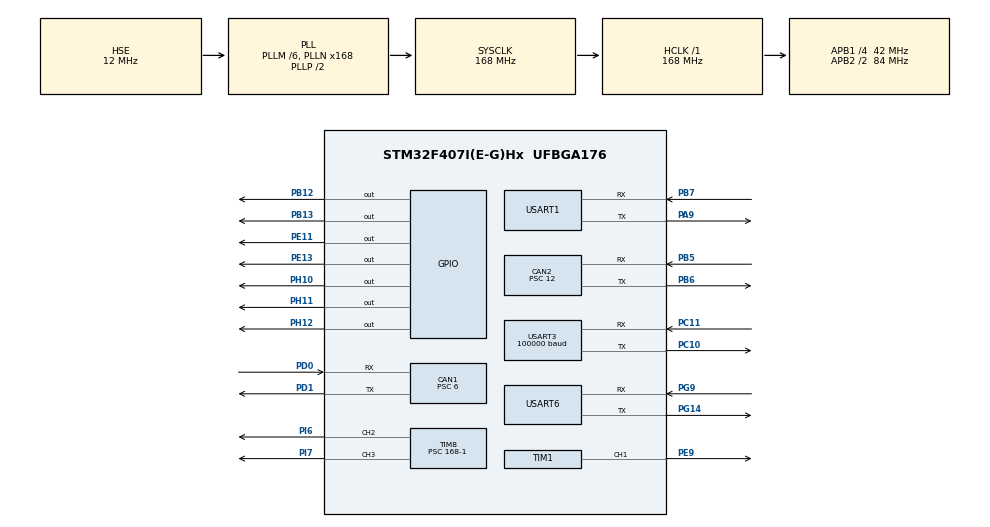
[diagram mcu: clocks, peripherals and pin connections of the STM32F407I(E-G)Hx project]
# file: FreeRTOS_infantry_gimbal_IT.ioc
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CAN1.BS1=CAN_BS1_5TQ
CAN1.CalculateBaudRate=1000000
CAN1.CalculateTimeBit=999.99
CAN1.CalculateTimeQuantum=142.85714285714286
CAN1.Prescaler=6
CAN2.BS1=CAN_BS1_5TQ
CAN2.CalculateBaudRate=500000
CAN2.CalculateTimeBit=1999.99
CAN2.CalculateTimeQuantum=285.7142857142857
CAN2.Prescaler=12
Dma.Request0=USART3_RX
Dma.USART3_RX.0.Direction=DMA_PERIPH_TO_MEMORY
Dma.USART3_RX.0.FIFOMode=DMA_FIFOMODE_DISABLE
Dma.USART3_RX.0.Instance=DMA1_Stream1
Dma.USART3_RX.0.MemDataAlignment=DMA_MDATAALIGN_BYTE
Dma.USART3_RX.0.MemInc=DMA_MINC_ENABLE
Dma.USART3_RX.0.Mode=DMA_NORMAL
Dma.USART3_RX.0.PeriphDataAlignment=DMA_PDATAALIGN_BYTE
Dma.USART3_RX.0.PeriphInc=DMA_PINC_DISABLE
Dma.USART3_RX.0.Priority=DMA_PRIORITY_LOW
Mcu.Family=STM32F4
Mcu.Name=STM32F407I(E-G)Hx
Mcu.Package=UFBGA176
NVIC.CAN1_RX0_IRQn=true\:5\:0\:true\:false\:true\:true\:true
NVIC.CAN2_RX0_IRQn=true\:5\:0\:true\:false\:true\:true\:true
NVIC.DMA1_Stream1_IRQn=true\:5\:0\:true\:false\:true\:false\:true
NVIC.PriorityGroup=NVIC_PRIORITYGROUP_4
NVIC.TIM6_DAC_IRQn=true\:0\:0\:false\:false\:true\:false\:true
NVIC.TimeBase=TIM6_DAC_IRQn
NVIC.TimeBaseIP=TIM6
NVIC.USART1_IRQn=true\:5\:0\:true\:false\:true\:true\:true
NVIC.USART3_IRQn=true\:5\:0\:true\:false\:true\:true\:true
NVIC.USART6_IRQn=true\:5\:0\:true\:false\:true\:true\:true
PA13.Mode=Serial_Wire
PA13.Signal=SYS_JTMS-SWDIO
PA14.Mode=Serial_Wire
PA14.Signal=SYS_JTCK-SWCLK
PA9.Mode=Asynchronous
PA9.Signal=USART1_TX
PB12.Signal=GPIO_Output
PB13.Signal=GPIO_Output
PB5.Mode=CAN_Activate
PB5.Signal=CAN2_RX
PB6.Mode=CAN_Activate
PB6.Signal=CAN2_TX
PB7.Mode=Asynchronous
PB7.Signal=USART1_RX
PC10.Mode=Asynchronous
PC10.Signal=USART3_TX
PC11.Mode=Asynchronous
PC11.Signal=USART3_RX
PD0.Mode=CAN_Activate
PD0.Signal=CAN1_RX
PD1.Mode=CAN_Activate
PD1.Signal=CAN1_TX
PE11.Signal=GPIO_Output
PE13.Signal=GPIO_Output
PE9.Signal=S_TIM1_CH1
PG14.Mode=Asynchronous
PG14.Signal=USART6_TX
PG9.Mode=Asynchronous
PG9.Signal=USART6_RX
PH0-OSC_IN.Mode=HSE-External-Oscillator
PH0-OSC_IN.Signal=RCC_OSC_IN
PH1-OSC_OUT.Mode=HSE-External-Oscillator
PH1-OSC_OUT.Signal=RCC_OSC_OUT
PH10.Signal=GPIO_Output
PH11.Signal=GPIO_Output
PH12.Signal=GPIO_Output
PI6.Signal=S_TIM8_CH2
PI7.Signal=S_TIM8_CH3
ProjectManager.HeapSize=0x200
ProjectManager.StackSize=0x400
ProjectManager.TargetToolchain=MDK-ARM V5.27
RCC.48MHZClocksFreq_Value=84000000
RCC.AHBFreq_Value=168000000
RCC.APB1CLKDivider=RCC_HCLK_DIV4
RCC.APB1Freq_Value=42000000
RCC.APB1TimFreq_Value=84000000
RCC.APB2CLKDivider=RCC_HCLK_DIV2
RCC.APB2Freq_Value=84000000
RCC.APB2TimFreq_Value=168000000
RCC.CortexFreq_Value=168000000
RCC.HCLKFreq_Value=168000000
RCC.HSE_VALUE=12000000
RCC.HSI_VALUE=16000000
RCC.LSE_VALUE=32768
RCC.PLLM=6
RCC.PLLN=168
RCC.PLLSourceVirtual=RCC_PLLSOURCE_HSE
RCC.SYSCLKFreq_VALUE=168000000
RCC.SYSCLKSource=RCC_SYSCLKSOURCE_PLLCLK
RCC.VCOOutputFreq_Value=336000000
SH.S_TIM1_CH1.0=TIM1_CH1,PWM Generation1 CH1
SH.S_TIM8_CH2.0=TIM8_CH2,PWM Generation2 CH2
SH.S_TIM8_CH3.0=TIM8_CH3,PWM Generation3 CH3
TIM1.Channel-PWM\ Generation1\ CH1=TIM_CHANNEL_1
TIM1.Period=2000-1
TIM1.Prescaler=840-1
TIM8.Channel-PWM\ Generation2\ CH2=TIM_CHANNEL_2
TIM8.Channel-PWM\ Generation3\ CH3=TIM_CHANNEL_3
TIM8.Period=2500-1
TIM8.Prescaler=168-1
USART1.VirtualMode=VM_ASYNC
USART3.BaudRate=100000
USART3.Parity=PARITY_EVEN
USART3.VirtualMode=VM_ASYNC
USART3.WordLength=WORDLENGTH_9B
USART6.VirtualMode=VM_ASYNC
VP_SYS_VS_tim6.Mode=TIM6
board=custom

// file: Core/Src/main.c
/* USER CODE BEGIN Header */
/**
  ******************************************************************************
  * @file           : main.c
  * @brief          : Main program body
  ******************************************************************************
  * @attention
  *
  * <h2><center>&copy; Copyright (c) 2021 STMicroelectronics.
  * All rights reserved.</center></h2>
  *
  * This software component is licensed by ST under BSD 3-Clause license,
  * the "License"; You may not use this file except in compliance with the
  * License. You may obtain a copy of the License at:
  *                        opensource.org/licenses/BSD-3-Clause
  *
  ******************************************************************************
  */
/* USER CODE END Header */
#include "main.h"
#include "can.h"
#include "dma.h"
#include "tim.h"
#include "usart.h"
#include "gpio.h"

/* USER CODE BEGIN Includes */
#include "includes.h"
/* USER CODE END Includes */

void SystemClock_Config(void);

int main(void)
    {
  /* USER CODE BEGIN 1 */
	__disable_irq();  //关闭所有硬件中断
  /* USER CODE END 1 */

  /* MCU Configuration--------------------------------------------------------*/

  /* Reset of all peripherals, Initializes the Flash interface and the Systick. */
  HAL_Init();

  /* Configure the system clock */
  SystemClock_Config();

  /* Initialize all configured peripherals */
  MX_GPIO_Init();
  MX_DMA_Init();
  MX_USART1_UART_Init();
  MX_USART3_UART_Init();
  MX_CAN1_Init();
  MX_CAN2_Init();
  MX_USART6_UART_Init();
  MX_TIM1_Init();
  MX_TIM8_Init();
  /* USER CODE BEGIN 2 */
	freertos_init();
	uart_manage_init();
	can_manage_init();
	system_init();

	add_motor( 0x205, 0x1FF );
	add_motor( 0x206, 0x1FF );

	add_motor( 0x201, 0x200 );
	add_motor( 0x202, 0x200 );
	add_motor( 0x203, 0x200 );

	HAL_TIM_PWM_Start(&htim1,TIM_CHANNEL_1); //弹舱盖
	HAL_TIM_PWM_Start(&htim8,TIM_CHANNEL_2); //摩擦轮
	HAL_TIM_PWM_Start(&htim8,TIM_CHANNEL_3); //摩擦轮

	#ifndef infantry_2
	TIM1->CCR1 = 405; //弹舱盖复位
	#else
	TIM1->CCR1 = 465; //弹舱盖复位
	#endif

	TIM8->CCR2 = 1000; //摩擦轮电调复位
	TIM8->CCR3 = 1000; //摩擦轮电调复位

	xTaskCreate( led_task, "led", 256, NULL, 1, NULL );
	xTaskCreate( can_task, "can_rec", 2048, NULL, 2, NULL );
	xTaskCreate( gimbal_task, "gimbal_task", 2048, NULL, 2, NULL );
	xTaskCreate( remote_task, "remote_rec", 2048, NULL, 3, NULL );
	xTaskCreate( CH110_task, "CH110_rec", 2048, NULL, 3, NULL );
	xTaskCreate( communication_receive_task, "communication_receive", 2048, NULL, 5, NULL );
	xTaskCreate( communication_send_task, "communication_send", 2048, NULL, 4, NULL );
	xTaskCreate( vision_recive_task, "vision_recive", 2048, NULL, 4, NULL );
	xTaskCreate( vision_send_task, "vision_send", 2048, NULL, 6, NULL );

	__enable_irq();  //使能所有硬件中断

	vTaskStartScheduler();
  /* USER CODE END 2 */

  /* Infinite loop */
  while (1)
  {

  }
}

void SystemClock_Config(void)
{
  RCC_OscInitTypeDef RCC_OscInitStruct = {0};
  RCC_ClkInitTypeDef RCC_ClkInitStruct = {0};

  /** Configure the main internal regulator output voltage
  */
  __HAL_RCC_PWR_CLK_ENABLE();
  __HAL_PWR_VOLTAGESCALING_CONFIG(PWR_REGULATOR_VOLTAGE_SCALE1);
  /** Initializes the RCC Oscillators according to the specified parameters
  * in the RCC_OscInitTypeDef structure.
  */
  RCC_OscInitStruct.OscillatorType = RCC_OSCILLATORTYPE_HSE;
  RCC_OscInitStruct.HSEState = RCC_HSE_ON;
  RCC_OscInitStruct.PLL.PLLState = RCC_PLL_ON;
  RCC_OscInitStruct.PLL.PLLSource = RCC_PLLSOURCE_HSE;
  RCC_OscInitStruct.PLL.PLLM = 6;
  RCC_OscInitStruct.PLL.PLLN = 168;
  RCC_OscInitStruct.PLL.PLLP = RCC_PLLP_DIV2;
  RCC_OscInitStruct.PLL.PLLQ = 4;
  if (HAL_RCC_OscConfig(&RCC_OscInitStruct) != HAL_OK)
  {
    Error_Handler();
  }
  /** Initializes the CPU, AHB and APB buses clocks
  */
  RCC_ClkInitStruct.ClockType = RCC_CLOCKTYPE_HCLK|RCC_CLOCKTYPE_SYSCLK
                              |RCC_CLOCKTYPE_PCLK1|RCC_CLOCKTYPE_PCLK2;
  RCC_ClkInitStruct.SYSCLKSource = RCC_SYSCLKSOURCE_PLLCLK;
  RCC_ClkInitStruct.AHBCLKDivider = RCC_SYSCLK_DIV1;
  RCC_ClkInitStruct.APB1CLKDivider = RCC_HCLK_DIV4;
  RCC_ClkInitStruct.APB2CLKDivider = RCC_HCLK_DIV2;

  if (HAL_RCC_ClockConfig(&RCC_ClkInitStruct, FLASH_LATENCY_5) != HAL_OK)
  {
    Error_Handler();
  }
}

 /**
  * @brief  Period elapsed callback in non blocking mode
  * @note   This function is called  when TIM6 interrupt took place, inside
  * HAL_TIM_IRQHandler(). It makes a direct call to HAL_IncTick() to increment
  * a global variable "uwTick" used as application time base.
  * @param  htim : TIM handle
  * @retval None
  */
void HAL_TIM_PeriodElapsedCallback(TIM_HandleTypeDef *htim)
{
  if (htim->Instance == TIM6) {
    HAL_IncTick();
  }
}

void Error_Handler(void)
{
  __disable_irq();
  while (1)
  {
  }
}

/************************ (C) COPYRIGHT STMicroelectronics *****END OF FILE****/
